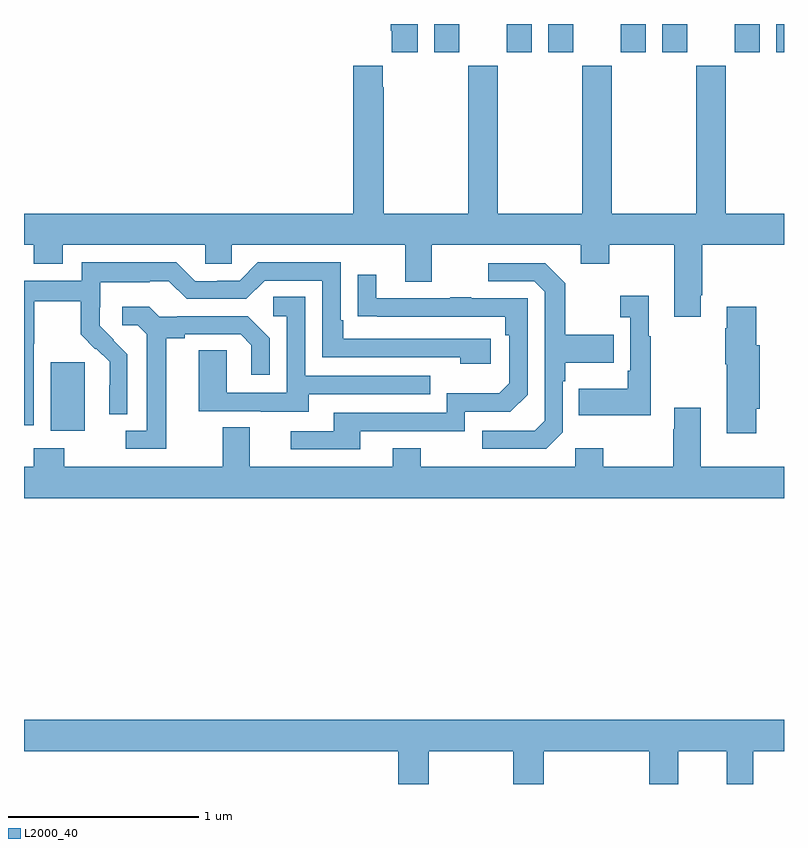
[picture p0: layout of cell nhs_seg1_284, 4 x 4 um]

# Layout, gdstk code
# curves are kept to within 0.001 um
import gdstk
lib = gdstk.Library(unit=1e-6, precision=1e-09)
def R(c, l, rs):  # rectangles x0, y0, x1, y1
    for r in rs: c.add(gdstk.rectangle(r[:2], r[2:], *l))
def P(c, l, *ps):  # polygons
    for p in ps: c.add(gdstk.Polygon(p, *l))
L2000_40 = (2000, 40)

nhs_seg1_284 = lib.new_cell('nhs_seg1_284')
R(nhs_seg1_284, L2000_40, [(125.141,580.058,125.32,580.419), (127.16,582.051,127.291,582.199), (127.541,582.051,127.672,582.199), (127.76,582.051,127.891,582.199), (128.141,582.051,128.272,582.199), (128.36,582.051,128.491,582.199), (128.741,582.051,128.872,582.199), (128.96,582.051,129,582.199)])
P(nhs_seg1_284, L2000_40, [(127.072,582.199),(126.929,582.199),(126.929,582.163),(126.935,582.163),(126.935,582.051),(127.072,582.051)],
  [(128.563,580.771),(128.571,580.771),(128.571,581.036),(129,581.036),(129,581.2),(128.694,581.2),(128.694,581.98),(128.539,581.98),(128.539,581.2),(128.094,581.2),(128.094,581.98),(127.939,581.98),(127.939,581.2),(127.494,581.2),(127.494,581.98),(127.339,581.98),(127.339,581.2),(126.894,581.2),(126.894,581.867),(126.889,581.867),(126.889,581.98),(126.734,581.98),(126.734,581.2),(125,581.2),(125,581.036),(125.051,581.036),(125.051,580.937),(125.203,580.937),(125.203,581.036),(125.955,581.036),(125.955,580.938),(126.093,580.938),(126.093,581.036),(127.007,581.036),(127.007,580.842),(127.147,580.842),(127.147,581.036),(127.931,581.036),(127.931,580.937),(128.079,580.937),(128.079,581.036),(128.423,581.036),(128.423,580.659),(128.563,580.659)],
  [(125.052,580.516),(125.055,580.516),(125.055,580.74),(125.299,580.74),(125.299,580.565),(125.376,580.488),(125.379,580.491),(125.45,580.421),(125.45,580.298),(125.448,580.298),(125.448,580.144),(125.544,580.144),(125.544,580.462),(125.398,580.61),(125.398,580.707),(125.4,580.707),(125.4,580.841),(125.663,580.841),(125.663,580.845),(125.763,580.845),(125.856,580.752),(126.171,580.752),(126.267,580.848),(126.57,580.848),(126.57,580.446),(127.295,580.446),(127.295,580.412),(127.456,580.412),(127.456,580.542),(126.679,580.542),(126.679,580.639),(126.666,580.639),(126.666,580.944),(126.231,580.944),(126.135,580.848),(126.017,580.848),(126.017,580.845),(125.901,580.845),(125.801,580.945),(125.304,580.945),(125.304,580.848),(125,580.848),(125,580.087),(125.052,580.087)],
  [(127.836,580.05),(127.836,580.319),(127.849,580.319),(127.849,580.415),(128.105,580.415),(128.105,580.563),(127.849,580.563),(127.849,580.835),(127.743,580.941),(127.443,580.941),(127.443,580.845),(127.686,580.845),(127.74,580.791),(127.74,580.11),(127.689,580.059),(127.413,580.059),(127.413,579.963),(127.749,579.963)],
  [(126.769,580.056),(127.32,580.056),(127.32,580.158),(127.56,580.158),(127.65,580.248),(127.65,580.755),(127.355,580.755),(127.355,580.76),(127.243,580.76),(127.243,580.755),(126.853,580.755),(126.853,580.879),(126.757,580.879),(126.757,580.66),(127.534,580.659),(127.534,580.562),(127.554,580.562),(127.554,580.308),(127.501,580.255),(127.224,580.255),(127.224,580.152),(126.629,580.152),(126.629,580.056),(126.405,580.056),(126.405,579.96),(126.769,579.96)],
  [(128.299,580.555),(128.287,580.555),(128.287,580.768),(128.139,580.768),(128.139,580.655),(128.19,580.655),(128.19,580.375),(128.178,580.375),(128.178,580.279),(127.921,580.279),(127.921,580.139),(128.299,580.139)],
  [(126.499,580.251),(127.139,580.251),(127.139,580.347),(126.48,580.347),(126.48,580.763),(126.312,580.763),(126.312,580.662),(126.384,580.662),(126.384,580.257),(126.066,580.257),(126.066,580.481),(125.921,580.481),(125.921,580.161),(126.245,580.161),(126.245,580.157),(126.499,580.157)],
  [(125.749,580.544),(125.845,580.544),(125.845,580.566),(126.14,580.566),(126.197,580.509),(126.197,580.353),(126.294,580.353),(126.294,580.546),(126.178,580.662),(125.806,580.662),(125.806,580.659),(125.712,580.659),(125.66,580.711),(125.517,580.711),(125.517,580.614),(125.598,580.614),(125.645,580.567),(125.645,580.059),(125.535,580.059),(125.535,579.963),(125.749,579.963)],
  [(128.854,580.173),(128.872,580.173),(128.872,580.509),(128.854,580.509),(128.854,580.711),(128.699,580.711),(128.699,580.598),(128.692,580.598),(128.692,580.409),(128.699,580.409),(128.699,580.044),(128.854,580.044)],
  [(129,579.868),(128.563,579.868),(128.563,580.18),(128.423,580.18),(128.423,580.067),(128.416,580.067),(128.416,579.868),(128.049,579.868),(128.049,579.967),(127.902,579.967),(127.902,579.868),(127.089,579.868),(127.089,579.967),(126.941,579.967),(126.941,579.868),(126.187,579.868),(126.187,580.076),(126.047,580.076),(126.047,579.868),(125.211,579.868),(125.211,579.967),(125.051,579.967),(125.051,579.868),(125,579.868),(125,579.704),(129,579.704)],
  [(127.131,578.372),(127.576,578.372),(127.576,578.199),(127.736,578.199),(127.736,578.372),(128.291,578.372),(128.291,578.199),(128.443,578.199),(128.443,578.372),(128.699,578.372),(128.699,578.199),(128.839,578.199),(128.839,578.372),(129,578.372),(129,578.536),(125,578.536),(125,578.372),(126.971,578.372),(126.971,578.199),(127.131,578.199)])

lib.write_gds('nhs_seg1_284.gds')
